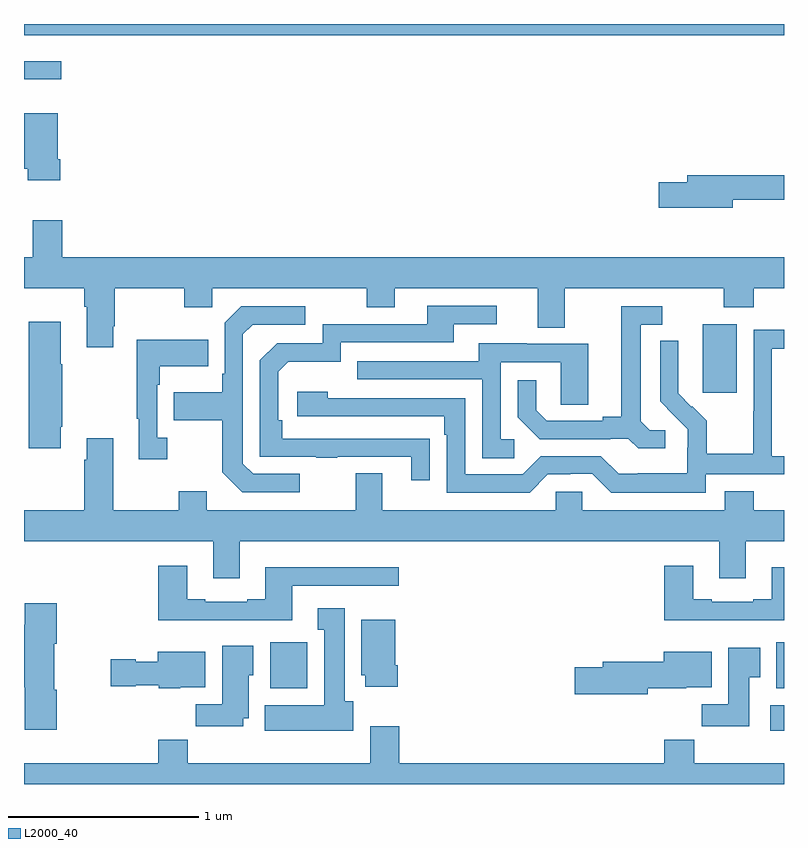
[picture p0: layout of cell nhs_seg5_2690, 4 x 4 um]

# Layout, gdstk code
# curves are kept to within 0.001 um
import gdstk
lib = gdstk.Library(unit=1e-6, precision=1e-09)
def R(c, l, rs):  # rectangles x0, y0, x1, y1
    for r in rs: c.add(gdstk.rectangle(r[:2], r[2:], *l))
def P(c, l, *ps):  # polygons
    for p in ps: c.add(gdstk.Polygon(p, *l))
L2000_40 = (2000, 40)

nhs_seg5_2690 = lib.new_cell('nhs_seg5_2690')
R(nhs_seg5_2690, L2000_40, [(270.927,873.08,271,873.214), (268.295,873.302,268.492,873.544), (270.959,873.302,271,873.544), (270.572,874.857,270.751,875.218), (267,876.507,267.196,876.604), (267,876.74,271,876.799)])
P(nhs_seg5_2690, L2000_40, [(267.191,876.088),(267.178,876.088),(267.178,876.328),(267,876.328),(267,876.036),(267.02,876.036),(267.02,875.976),(267.191,875.976)],
  [(270.73,875.874),(271,875.874),(271,876.002),(270.491,876.002),(270.491,875.966),(270.342,875.966),(270.342,875.831),(270.73,875.831)],
  [(267.469,875.209),(267.477,875.209),(267.477,875.408),(267.844,875.408),(267.844,875.309),(267.99,875.309),(267.99,875.408),(268.804,875.408),(268.804,875.309),(268.951,875.309),(268.951,875.408),(269.705,875.408),(269.705,875.2),(269.845,875.2),(269.845,875.408),(270.682,875.408),(270.682,875.309),(270.842,875.309),(270.842,875.408),(271,875.408),(271,875.572),(267.2,875.572),(267.2,875.767),(267.047,875.767),(267.047,875.572),(267,875.572),(267,875.408),(267.317,875.408),(267.317,875.312),(267.329,875.312),(267.329,875.097),(267.469,875.097)],
  [(269.135,874.616),(268.358,874.617),(268.358,874.714),(268.338,874.714),(268.338,874.968),(268.391,875.021),(268.668,875.021),(268.668,875.124),(269.263,875.124),(269.263,875.22),(269.488,875.22),(269.488,875.316),(269.123,875.316),(269.123,875.22),(268.572,875.22),(268.572,875.118),(268.332,875.118),(268.242,875.028),(268.242,874.521),(268.537,874.521),(268.537,874.516),(268.649,874.516),(268.649,874.521),(269.039,874.521),(269.039,874.398),(269.135,874.398)],
  [(268.45,874.431),(268.206,874.431),(268.152,874.485),(268.152,875.166),(268.203,875.217),(268.48,875.217),(268.48,875.313),(268.143,875.313),(268.056,875.226),(268.056,874.957),(268.044,874.957),(268.044,874.861),(267.787,874.861),(267.787,874.714),(268.044,874.714),(268.044,874.441),(268.149,874.335),(268.45,874.335)],
  [(270.376,874.662),(270.294,874.662),(270.247,874.709),(270.247,875.217),(270.358,875.217),(270.358,875.313),(270.143,875.313),(270.143,874.733),(270.047,874.733),(270.047,874.71),(269.752,874.71),(269.695,874.767),(269.695,874.924),(269.598,874.924),(269.598,874.73),(269.714,874.614),(270.086,874.614),(270.086,874.617),(270.18,874.617),(270.232,874.565),(270.376,874.565)],
  [(267.193,874.678),(267.201,874.678),(267.201,875.009),(267.193,875.009),(267.193,875.233),(267.026,875.233),(267.026,874.566),(267.193,874.566)],
  [(270.588,874.428),(271,874.428),(271,874.524),(270.936,874.524),(270.936,875.091),(271,875.091),(271,875.19),(270.84,875.19),(270.84,874.76),(270.838,874.76),(270.838,874.537),(270.593,874.537),(270.593,874.711),(270.516,874.788),(270.513,874.785),(270.443,874.856),(270.444,875.132),(270.348,875.132),(270.348,874.814),(270.494,874.666),(270.494,874.569),(270.492,874.569),(270.492,874.435),(270.229,874.435),(270.229,874.431),(270.129,874.431),(270.036,874.524),(269.721,874.524),(269.625,874.428),(269.322,874.428),(269.322,874.83),(268.598,874.83),(268.598,874.864),(268.437,874.864),(268.437,874.734),(269.213,874.734),(269.213,874.637),(269.226,874.637),(269.226,874.332),(269.661,874.332),(269.757,874.428),(269.876,874.428),(269.876,874.431),(269.991,874.431),(270.091,874.331),(270.588,874.331)],
  [(267.754,874.622),(267.702,874.622),(267.702,874.901),(267.715,874.901),(267.715,874.997),(267.971,874.997),(267.971,875.137),(267.594,875.137),(267.594,874.721),(267.605,874.721),(267.605,874.509),(267.754,874.509)],
  [(269.581,874.614),(269.508,874.614),(269.508,875.019),(269.826,875.019),(269.826,874.795),(269.971,874.795),(269.971,875.115),(269.647,875.115),(269.647,875.119),(269.393,875.119),(269.393,875.025),(268.753,875.025),(268.753,874.929),(269.412,874.929),(269.412,874.513),(269.581,874.513)],
  [(268.135,874.076),(270.659,874.076),(270.659,873.882),(270.799,873.882),(270.799,874.076),(271,874.076),(271,874.24),(270.842,874.24),(270.842,874.339),(270.689,874.339),(270.689,874.24),(269.937,874.24),(269.937,874.338),(269.799,874.338),(269.799,874.24),(268.885,874.24),(268.885,874.435),(268.745,874.435),(268.745,874.24),(267.961,874.24),(267.961,874.339),(267.814,874.339),(267.814,874.24),(267.469,874.24),(267.469,874.618),(267.329,874.618),(267.329,874.505),(267.317,874.505),(267.317,874.24),(267,874.24),(267,874.076),(267.995,874.076),(267.995,873.882),(268.135,873.882)],
  [(271,873.94),(270.935,873.94),(270.935,873.772),(270.839,873.772),(270.839,873.759),(270.619,873.759),(270.619,873.772),(270.523,873.772),(270.523,873.949),(270.371,873.949),(270.371,873.662),(271,873.662)],
  [(268.411,873.843),(268.972,873.843),(268.972,873.94),(268.271,873.94),(268.271,873.772),(268.175,873.772),(268.175,873.759),(267.955,873.759),(267.955,873.772),(267.859,873.772),(267.859,873.949),(267.707,873.949),(267.707,873.662),(268.411,873.662)],
  [(267.173,873.296),(267.16,873.296),(267.16,873.538),(267.173,873.538),(267.173,873.751),(267.005,873.751),(267.005,873.638),(267,873.638),(267,873.307),(267.005,873.307),(267.005,873.084),(267.173,873.084)],
  [(268.732,873.234),(268.687,873.234),(268.687,873.724),(268.547,873.724),(268.547,873.611),(268.58,873.611),(268.58,873.214),(268.268,873.214),(268.268,873.08),(268.732,873.08)],
  [(268.967,873.424),(268.954,873.424),(268.954,873.664),(268.775,873.664),(268.775,873.372),(268.796,873.372),(268.796,873.312),(268.967,873.312)],
  [(268.153,873.146),(268.183,873.146),(268.183,873.372),(268.207,873.372),(268.207,873.526),(268.043,873.526),(268.043,873.22),(267.904,873.22),(267.904,873.102),(268.153,873.102)],
  [(270.817,873.361),(270.874,873.361),(270.874,873.517),(270.707,873.517),(270.707,873.22),(270.568,873.22),(270.568,873.102),(270.817,873.102)],
  [(270.282,873.302),(270.486,873.302),(270.486,873.308),(270.619,873.308),(270.619,873.496),(270.368,873.496),(270.368,873.443),(270.047,873.443),(270.047,873.413),(269.898,873.413),(269.898,873.271),(270.282,873.271)],
  [(267.822,873.308),(267.955,873.308),(267.955,873.496),(267.704,873.496),(267.704,873.442),(267.588,873.442),(267.588,873.455),(267.456,873.455),(267.456,873.313),(267.588,873.313),(267.588,873.32),(267.708,873.32),(267.708,873.302),(267.822,873.302)],
  [(271,872.908),(270.527,872.908),(270.527,873.032),(270.371,873.032),(270.371,872.908),(268.976,872.908),(268.976,873.103),(268.823,873.103),(268.823,872.908),(267.863,872.908),(267.863,873.032),(267.707,873.032),(267.707,872.908),(267,872.908),(267,872.799),(271,872.799)])

lib.write_gds('nhs_seg5_2690.gds')
